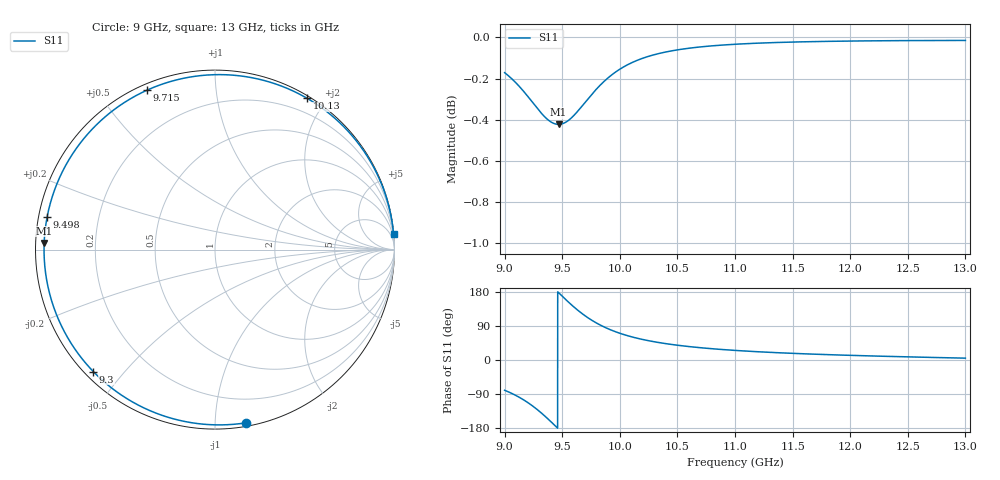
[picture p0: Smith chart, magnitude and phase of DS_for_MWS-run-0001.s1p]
! TOUCHSTONE file generated by CST DESIGN STUDIO
! Date and time: Tue Feb  4 17:56:22 2025
! Project name: C:\Work\MatlabApps\UnitCellOptimizationMatlab\CST\unitcell.cst
! Tree item: Tasks\Sweep1\SPara1\S-Parameters
! Header version: 2024
! Port assignment regex: !\s*Touchstone port\s*([0-9]+)\s*=\s*(CST MWS port|CST DES external port|CST DES block port)\s*(.+)\s* \(\"(.*)\"\)(\s*mode\s*([0-9]+))?.*
! Touchstone port assignment:
! Touchstone port 1 = CST DES external port 1 ("")
# GHz S MA R 50
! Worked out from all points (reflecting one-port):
!   4001 points, 9 GHz to 13 GHz, reference 50 ohm
!   lowest |S11| = -0.4 dB at 9.468 GHz (marker M1), VSWR 41.14, Z = 1.22 + j0.951 ohm
!   phase of S11 starts at -80 deg and turns -275 deg over the sweep
!   S11 on the Smith chart (normalised r, x): 9 GHz: 0.02, -1.20; 9.3 GHz: 0.02, -0.41; 9.498 GHz: 0.02, +0.10; 9.715 GHz: 0.03, +0.66; 10.13 GHz: 0.03, +1.78; 13 GHz: 0, +23
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9  0.9805 -79.8
9.073  0.9765 -89.8
9.169  0.97 -106.0
9.237  0.9648 -120.0
9.3  0.9599 -134.9
9.344  0.9568 -146.5
9.391  0.9543 -159.6
9.43  0.953 -171.0
9.468  0.9525 177.8
9.498  0.9528 169.0
9.5  0.9528 168.4
9.552  0.9546 153.4
9.611  0.9579 137.5
9.662  0.9616 124.9
9.715  0.9656 113.2
9.771  0.9697 102.3
9.834  0.9739 91.6
9.915  0.9785 80.3
10  0.9824 70.5
10.135  0.9869 58.6
10.3  0.9904 48.1
10.5  0.9931 39.0
10.722  0.9949 31.8
11  0.9962 25.3
11.5  0.9974 17.5
12  0.998 12.3
12.5  0.9983 8.2
13  0.9983 4.9
